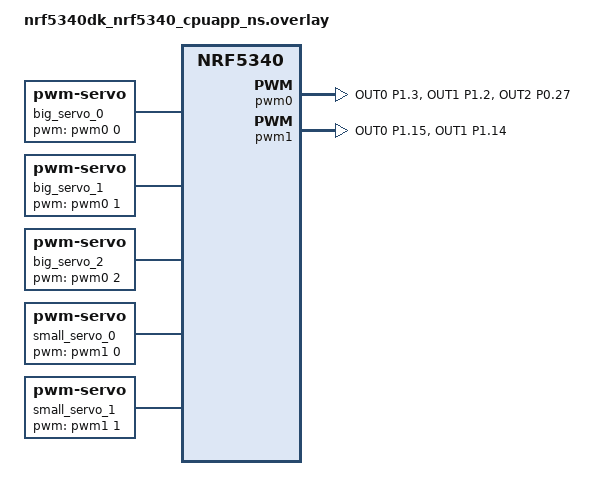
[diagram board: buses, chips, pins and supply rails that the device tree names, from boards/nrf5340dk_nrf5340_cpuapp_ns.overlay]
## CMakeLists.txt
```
cmake_minimum_required(VERSION 3.20.0)
find_package(Zephyr REQUIRED HINTS $ENV{ZEPHYR_BASE})

project(robotic-arm-control)

target_sources(app PRIVATE src/main.c src/led.c src/advert.c src/connection.c src/racs.c src/servo.c)
```

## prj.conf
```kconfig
CONFIG_DK_LIBRARY=y
CONFIG_LOG=y

# Bluetooth LE
CONFIG_BT=y
CONFIG_BT_PERIPHERAL=y
CONFIG_BT_DEVICE_NAME="Robotic Arm"

CONFIG_PWM=y
CONFIG_PWM_LOG_LEVEL_DBG=y
CONFIG_LED=y
CONFIG_LED_PWM=y
```

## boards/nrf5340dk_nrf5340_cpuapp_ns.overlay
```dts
/delete-node/ &{/pin-controller/i2c1_default/group1/};
/delete-node/ &{/pin-controller/i2c1_sleep/group1/};

/ {
  big_servo_0: big_servo_0 {
    compatible = "pwm-servo";
    pwms = <&pwm0 0 PWM_MSEC(20) PWM_POLARITY_NORMAL>;
  };

  big_servo_1: big_servo_1 {
    compatible = "pwm-servo";
    pwms = <&pwm0 1 PWM_MSEC(20) PWM_POLARITY_NORMAL>;
  };

  big_servo_2: big_servo_2 {
    compatible = "pwm-servo";
    pwms = <&pwm0 2 PWM_MSEC(20) PWM_POLARITY_NORMAL>;
  };

  small_servo_0: small_servo_0 {
    compatible = "pwm-servo";
    pwms = <&pwm1 0 PWM_MSEC(20) PWM_POLARITY_NORMAL>;
  };

  small_servo_1: small_servo_1 {
    compatible = "pwm-servo";
    pwms = <&pwm1 1 PWM_MSEC(20) PWM_POLARITY_NORMAL>;
  };
};

&pwm0 {
  status = "okay";
  pinctrl-0 = <&pwm0_big_servos>;
  pinctrl-1 = <&pwm0_big_servos_sleep>;
  pinctrl-names = "default", "sleep";
};

&pwm1 {
  status = "okay";
  pinctrl-0 = <&pwm1_small_servos>;
  pinctrl-1 = <&pwm1_small_servos_sleep>;
  pinctrl-names = "default", "sleep";
};

&pinctrl {
  pwm0_big_servos: pwm0_big_servos {
    group1 {
      psels = <
      NRF_PSEL(PWM_OUT0, 1, 3)
      NRF_PSEL(PWM_OUT1, 1, 2)
      NRF_PSEL(PWM_OUT2, 0, 27)
      >;
    };
  };

  pwm0_big_servos_sleep: pwm0_big_servos_sleep {
    group1 {
      psels = <
      NRF_PSEL(PWM_OUT0, 1, 3)
      NRF_PSEL(PWM_OUT1, 1, 2)
      NRF_PSEL(PWM_OUT2, 0, 27)
      >;
      low-power-enable;
    };
  };

  pwm1_small_servos: pwm1_small_servos {
    group1 {
      psels = <
      NRF_PSEL(PWM_OUT0, 1, 15)
      NRF_PSEL(PWM_OUT1, 1, 14)
      >;
    };
  };

  pwm1_small_servos_sleep: pwm1_small_servos_sleep {
    group1 {
      psels = <
      NRF_PSEL(PWM_OUT0, 1, 15)
      NRF_PSEL(PWM_OUT1, 1, 14)
      >;
      low-power-enable;
    };
  };
};
```

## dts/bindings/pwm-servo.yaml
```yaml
description: PWM-driven servo motor.

compatible: "pwm-servo"

include: base.yaml

properties:
  pwms:
    required: true
    type: phandle-array
    description: PWM specifier driving the servo motor.
```

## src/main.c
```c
#include <zephyr/kernel.h>
#include "advert.h"
#include "connection.h"
#include <zephyr/bluetooth/bluetooth.h>
#include "led.h"
#include <zephyr/logging/log.h>
#include "servo.h"

LOG_MODULE_REGISTER(Main, LOG_LEVEL_WRN);

int main(void)
{
  init_leds();

  init_servos();

  bt_enable(NULL);

  init_advertising();

  init_bt_connection();

  start_advertising();

  return 0;
}
```

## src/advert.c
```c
#include "advert.h"
#include <zephyr/logging/log.h>
#include <zephyr/bluetooth/bluetooth.h>
#include <zephyr/bluetooth/gap.h>
#include <zephyr/bluetooth/conn.h>
#include "racs.h"
#include "led.h"

LOG_MODULE_REGISTER(Advert, LOG_LEVEL_INF);

#define DEVICE_NAME CONFIG_BT_DEVICE_NAME
#define DEVICE_NAME_LEN (sizeof(DEVICE_NAME) - 1)

static const struct bt_le_adv_param *adv_param = BT_LE_ADV_PARAM(
    (BT_LE_ADV_OPT_CONN |
     BT_LE_ADV_OPT_USE_IDENTITY),
    BT_GAP_ADV_FAST_INT_MIN_1,
    BT_GAP_ADV_FAST_INT_MAX_1,
    NULL);

static struct k_work adv_start_work;

static const struct bt_data ad[] = {
    BT_DATA_BYTES(BT_DATA_FLAGS, (BT_LE_AD_GENERAL | BT_LE_AD_NO_BREDR)),
    BT_DATA(BT_DATA_NAME_COMPLETE, DEVICE_NAME, DEVICE_NAME_LEN),
};

static const struct bt_data sd[] = {
    BT_DATA_BYTES(BT_DATA_UUID128_ALL, BT_UUID_RACS_VAL),
};

static void adv_start_work_handler(struct k_work *work)
{
  int err = bt_le_adv_start(adv_param, ad, ARRAY_SIZE(ad), sd, ARRAY_SIZE(sd));

  if (err)
  {
    LOG_ERR("Advertising failed to start (err %d)\n", err);
    return;
  }

  start_advert_led_blinking();
  LOG_INF("Advertising successfully started\n");
}

void start_advertising(void)
{
  k_work_submit(&adv_start_work);
}

void init_advertising(void) {
  k_work_init(&adv_start_work, adv_start_work_handler);
}
```

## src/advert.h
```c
#ifndef ADVERT_H
#define ADVERT_H

void init_advertising(void);

void start_advertising(void);


#endif // ADVERT_H
```

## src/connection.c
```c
#include "connection.h"
#include <zephyr/kernel.h>
#include <zephyr/logging/log.h>
#include <zephyr/bluetooth/conn.h>
#include "led.h"
#include "advert.h"

LOG_MODULE_REGISTER(Connection, LOG_LEVEL_INF);

static void recycled_cb(void)
{
  LOG_INF("Connection object available from previous conn. Disconnect is complete!\n");
  start_advertising();
}

static void on_connected(struct bt_conn *conn, uint8_t err)
{
  stop_advert_led_blinking();
  if (err)
  {
    LOG_ERR("Connection failed (err %u)\n", err);
    return;
  }

  turn_on_connection_led();
  LOG_INF("Connected\n");
}

static void on_disconnected(struct bt_conn *conn, uint8_t reason)
{
  turn_off_connection_led();
  LOG_INF("Disconnected (reason %u)\n", reason);
}

struct bt_conn_cb connection_callbacks = {
    .connected = on_connected,
    .disconnected = on_disconnected,
    .recycled = recycled_cb,
};

void init_bt_connection(void) {
  bt_conn_cb_register(&connection_callbacks);
}
```

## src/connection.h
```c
#ifndef CONNECTION_H
#define CONNECTION_H

void init_bt_connection(void);

#endif // CONNECTION_H
```

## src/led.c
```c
#include "led.h"
#include <zephyr/kernel.h>
#include <stdbool.h>
#include <dk_buttons_and_leds.h>
#include <zephyr/logging/log.h>

LOG_MODULE_REGISTER(LED, LOG_LEVEL_WRN);

#define BT_ADVERT_LED DK_LED1
#define BT_CONNECTION_LED DK_LED2
#define ADVERT_LED_BLINK_INTERVAL_MS 400
#define ADVERT_LED_THREAD_PRIORITY 8
#define ADVERT_LED_THREAD_STACK_SIZE 256 

static bool is_adverting = false;
static bool is_advert_led_enabled = false;
K_THREAD_STACK_DEFINE(advert_led_stack, ADVERT_LED_THREAD_STACK_SIZE);
static struct k_thread advert_led_thread;
static k_tid_t advert_led_tid;

void init_leds(void)
{
  dk_leds_init();
  LOG_INF("LEDs initialized\n");
}

static void blink_advert_led(void)
{
  LOG_INF("Advert LED blinking started\n");
  while (1)
  {
    if (!is_adverting)
    {
      break;
    }
    is_advert_led_enabled = !is_advert_led_enabled;
    dk_set_led(BT_ADVERT_LED, is_advert_led_enabled);
    k_msleep(ADVERT_LED_BLINK_INTERVAL_MS);
  }

  is_advert_led_enabled = false;
  dk_set_led(BT_ADVERT_LED, is_advert_led_enabled);
  LOG_INF("Advert LED blinking stopped\n");
}

void start_advert_led_blinking(void)
{
  if (is_adverting) {
    LOG_WRN("Couldn't start advert LED blinking - blinking already started\n");
    return;
  }
  is_adverting = true;
  advert_led_tid = k_thread_create(
      &advert_led_thread, advert_led_stack,
      K_THREAD_STACK_SIZEOF(advert_led_stack),
      (k_thread_entry_t)blink_advert_led,
      NULL, NULL, NULL,
      ADVERT_LED_THREAD_PRIORITY, 0, K_NO_WAIT);
}

void stop_advert_led_blinking(void)
{
  is_adverting = false;
}

void turn_on_connection_led(void) {
  dk_set_led(BT_CONNECTION_LED, true);
  LOG_INF("Connection LED turned on\n");
}

void turn_off_connection_led(void) {
  dk_set_led(BT_CONNECTION_LED, false);
  LOG_INF("Connection LED turned off\n");
}
```

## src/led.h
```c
#ifndef LED_H
#define LED_H

void init_leds(void);

void start_advert_led_blinking(void);

void stop_advert_led_blinking(void);

void turn_on_connection_led(void);

void turn_off_connection_led(void);

#endif // LED_H
```

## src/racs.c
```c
#include "racs.h"
#include <zephyr/bluetooth/gatt.h>
#include <zephyr/logging/log.h>
#include "servo.h"

LOG_MODULE_REGISTER(Racs, LOG_LEVEL_DBG);

static ssize_t write_arm_pos(struct bt_conn *conn,
                             const struct bt_gatt_attr *attr,
                             const void *buf,
                             uint16_t len, uint16_t offset, uint8_t flags)
{
  LOG_DBG("Attribute write, handle: %u, conn: %p", attr->handle,
          (void *)conn);
  if (len != 2U)
  {
    LOG_DBG("Write led: Incorrect data length");
    return BT_GATT_ERR(BT_ATT_ERR_INVALID_ATTRIBUTE_LEN);
  }
  if (offset != 0)
  {
    LOG_DBG("Write led: Incorrect data offset");
    return BT_GATT_ERR(BT_ATT_ERR_INVALID_OFFSET);
  }
  // Read the received value
  uint8_t servo_id = ((uint8_t *)buf)[0];
  uint8_t servo_pos = ((uint8_t *)buf)[1];
  if (servo_id > 4) {
    LOG_DBG("Write led: Incorrect servo id");
    return BT_GATT_ERR(BT_ATT_ERR_VALUE_NOT_ALLOWED);
  }

  servo_set_position(servo_id, servo_pos);

  return len;
}

BT_GATT_SERVICE_DEFINE(
    rac_service,
    BT_GATT_PRIMARY_SERVICE(BT_UUID_RACS),
    BT_GATT_CHARACTERISTIC(
        BT_UUID_ARM_POS_CHAR,
        BT_GATT_CHRC_WRITE,
        BT_GATT_PERM_WRITE,
        NULL,
        write_arm_pos,
        NULL));
```

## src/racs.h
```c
#ifndef RACS_H
#define RACS_H

#include <zephyr/bluetooth/uuid.h>

// RACS - Robot Arm Control Service

/** @brief RACS Service UUID. */
#define BT_UUID_RACS_VAL \
	BT_UUID_128_ENCODE(0x00000001, 0x46bf, 0x4a62, 0x9f7c, 0x54e268227875)
	
/** @brief Arm Position Characteristic UUID. */
#define BT_UUID_ARM_POS_CHAR_VAL \
	BT_UUID_128_ENCODE(0x00000002, 0x46bf, 0x4a62, 0x9f7c, 0x54e268227875)

#define BT_UUID_RACS BT_UUID_DECLARE_128(BT_UUID_RACS_VAL)
#define BT_UUID_ARM_POS_CHAR BT_UUID_DECLARE_128(BT_UUID_ARM_POS_CHAR_VAL)

#endif // RACS_H
```

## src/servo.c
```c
#include "servo.h"
#include <zephyr/kernel.h>
#include <zephyr/logging/log.h>
#include <zephyr/device.h>
#include <zephyr/drivers/pwm.h>

LOG_MODULE_REGISTER(Servo, LOG_LEVEL_INF);

#define SERVOS_UPDATE_THREAD_PRIORITY 8
#define SERVOS_UPDATE_THREAD_STACK_SIZE 512

#define PWM_MID_PULSE_WIDTH 1450000
#define PWM_PULSE_RANGE_WIDTH 2000000

#define PWM_MIN_PULSE_WIDTH PWM_MID_PULSE_WIDTH - (PWM_PULSE_RANGE_WIDTH / 2)
#define PWM_MAX_PULSE_WIDTH PWM_MID_PULSE_WIDTH + (PWM_PULSE_RANGE_WIDTH / 2)

#define PWM_BIG_SERVO_0 DT_NODELABEL(big_servo_0)
#define PWM_BIG_SERVO_1 DT_NODELABEL(big_servo_1)
#define PWM_BIG_SERVO_2 DT_NODELABEL(big_servo_2)
#define PWM_SMALL_SERVO_0 DT_NODELABEL(small_servo_0)
#define PWM_SMALL_SERVO_1 DT_NODELABEL(small_servo_1)

#define SERVO_COUNT 5

#define PWM_PERIOD PWM_MSEC(20)

static const struct pwm_dt_spec big_servo_0 = PWM_DT_SPEC_GET(PWM_BIG_SERVO_0);
static const struct pwm_dt_spec big_servo_1 = PWM_DT_SPEC_GET(PWM_BIG_SERVO_1);
static const struct pwm_dt_spec big_servo_2 = PWM_DT_SPEC_GET(PWM_BIG_SERVO_2);
static const struct pwm_dt_spec small_servo_0 = PWM_DT_SPEC_GET(PWM_SMALL_SERVO_0);
static const struct pwm_dt_spec small_servo_1 = PWM_DT_SPEC_GET(PWM_SMALL_SERVO_1);
static const struct pwm_dt_spec *servos[] = {
  &big_servo_0,
  &big_servo_1,
  &big_servo_2,
  &small_servo_0,
  &small_servo_1
};

static uint8_t servo_data[5] = {128, 128, 128, 128, 128};

uint32_t servo_data_to_pulse(uint8_t position)
{
  return PWM_MIN_PULSE_WIDTH + (PWM_PULSE_RANGE_WIDTH * position / 255);
}

void servo_set_position(uint8_t servo_id, uint8_t position)
{
  if (servo_id < 5)
  {
    servo_data[servo_id] = position;
  }
}

void update_servos(void)
{
  int err;

  for (int i = 0; i < SERVO_COUNT; i++)
  {
    err = pwm_set_dt(servos[i], PWM_PERIOD, servo_data_to_pulse(servo_data[i]));
    if (err)
    {
      LOG_ERR("pwm_set_dt for servo %d returned %d", i, err);
    }
  }

  LOG_INF("%d %d %d %d %d\n", servo_data[0], servo_data[1], servo_data[2], servo_data[3], servo_data[4]);
}

void update_servos_thread(void)
{
  while (1)
  {
    update_servos();
    k_msleep(100);
  }
}

void init_servos(void)
{
  for (int i = 0; i < SERVO_COUNT; i++)
  {
    if (!pwm_is_ready_dt(servos[i]))
    {
      LOG_ERR("Error: PWM device %s is not ready", servos[i]->dev->name);
      return;
    }
  }
}


K_THREAD_DEFINE(servos_update_thread, SERVOS_UPDATE_THREAD_STACK_SIZE, update_servos_thread, NULL, NULL, NULL, SERVOS_UPDATE_THREAD_PRIORITY, 0, 0);
```

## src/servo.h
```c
#ifndef SERVO_H
#define SERVO_H

#include <stdint.h>

void servo_set_position(uint8_t servo_id, uint8_t position);

void init_servos(void);

#endif // SERVO_H
```
